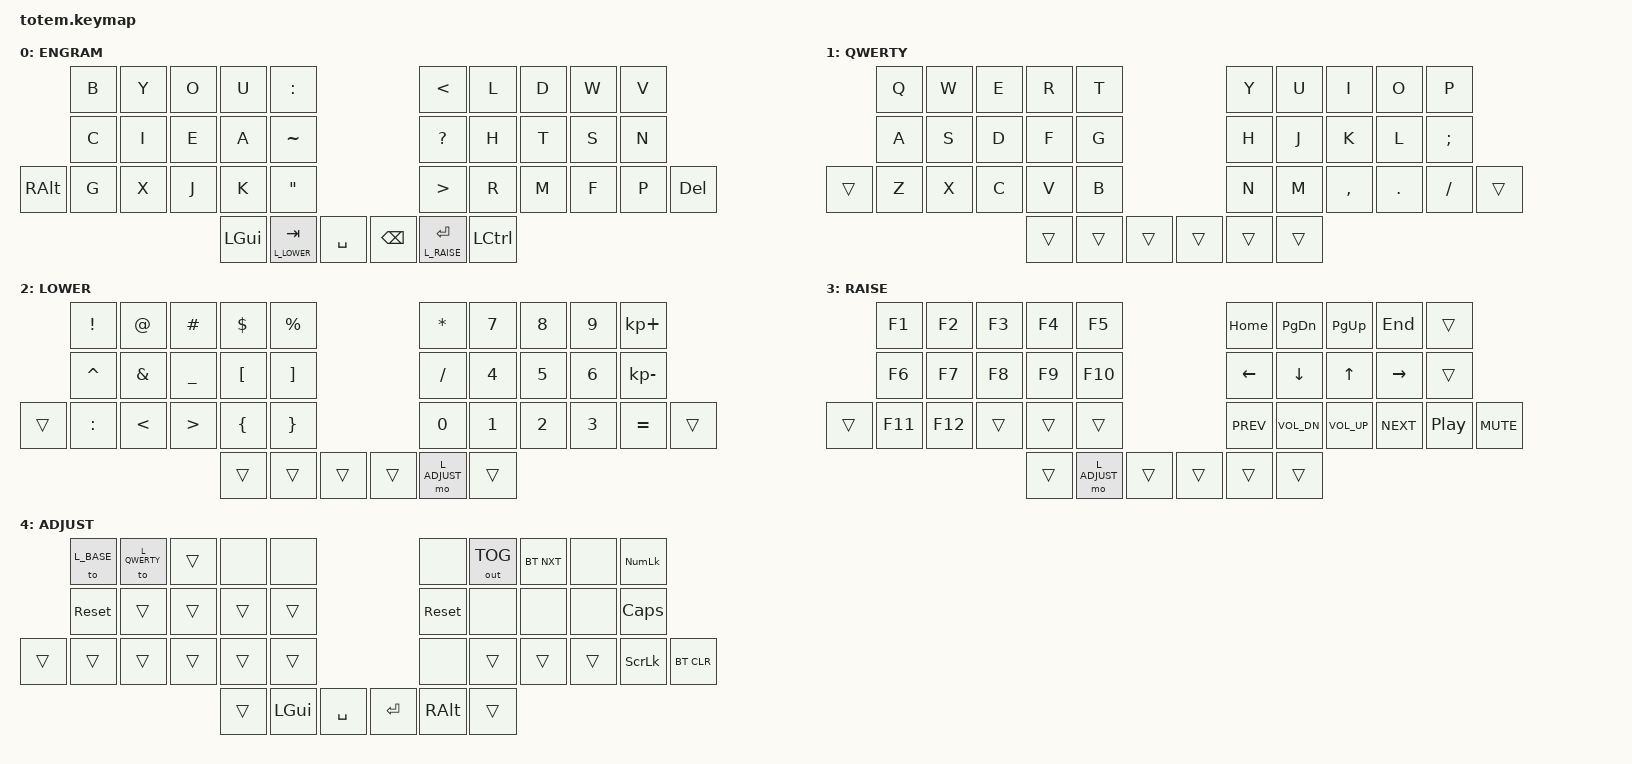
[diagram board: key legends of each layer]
/*
 * Copyright (c) 2022 The ZMK Contributors
 *
 * SPDX-License-Identifier: MIT
 */

#include <behaviors.dtsi>
#include <dt-bindings/zmk/bt.h>
#include <dt-bindings/zmk/keys.h>
#include <dt-bindings/zmk/ext_power.h>
#include <dt-bindings/zmk/keys.h>
#include <dt-bindings/zmk/outputs.h>

#define L_BASE 0
#define L_QWERTY 1
#define L_LOWER 2
#define L_RAISE 3
#define L_ADJUST 4

#define _______ &trans

#define Undo   LC(Z)
#define Cut    LC(X)
#define Copy   LC(C)
#define Paste  LC(V)

/ {
  combos {
    compatible = "zmk,combos";
    timeout-ms = <2>;
    grave {
      key-positions = <0 10>;
      bindings = <&kp GRAVE>;
      timeout-ms = <30>;
    };
    combo_esc {
      key-positions = <1 11>;
      bindings = <&kp ESC>;
      timeout-ms = <30>;
    };
    lshift {
      key-positions = <2 12>;
      bindings = <&skq LSHIFT>;
      timeout-ms = <30>;
    };
    semi {
      key-positions = <3 13>;
      bindings = <&kp SEMI>;
      timeout-ms = <30>;
    };

    comm {
      key-positions = <6 16>;
      bindings = <&kp COMMA>;
      timeout-ms = <30>;
    };
    rshift {
      key-positions = <7 17>;
      bindings = <&skq RSHIFT>;
      timeout-ms = <30>;
    }; 
    forward_slash {
      key-positions = <8 18>;
      bindings = <&kp FSLH>;
      timeout-ms = <30>;
    };
    back_slash {
      key-positions = <9 19>;
      bindings = <&kp BSLH>;
      timeout-ms = <30>;
    };

    lpar {
      key-positions = <22 24>;
      bindings = <&kp LPAR>;
      timeout-ms = <30>;
    };

    z {
      key-positions = <22 23>;
      bindings = <&kp Z>;
      timeout-ms = <30>;
    };
    quot {
      key-positions = <23 24>;
      bindings = <&kp APOS>;
      timeout-ms = <30>;
    };

    rpar {
      key-positions = <27 29>;
      bindings = <&kp RPAR>;
      timeout-ms = <30>;
    };
    dot {
      key-positions = <27 28>;
      bindings = <&kp DOT>;
      timeout-ms = <30>;
    };
    q {
      key-positions = <28 29>;
      bindings = <&kp Q>;
      timeout-ms = <30>;
    };

    combo_cw {
      key-positions = <24 27>;
      bindings = <&caps_word>;
      timeout-ms = <30>;
    };
  };

  behaviors {
    skq: sticky_key_quick_release {
      compatible = "zmk,behavior-sticky-key";
      label = "STICKY_KEY_QUICK_RELEASE";
      #binding-cells = <1>;
      bindings = <&kp>;
      release-after-ms = <1000>;
      quick-release;
    }; 
    tdlg: tap_dance_less_greater {
      compatible = "zmk,behavior-tap-dance";
      label = "TAP_DANCE_1";
      #binding-cells = <0>;
      tapping-term-ms = <225>;
      bindings = <&kp LT>, <&kp GT>;
    };
    tdbk: tap_dance_brakets {
      compatible = "zmk,behavior-tap-dance";
      label = "TAP_DANCE_BRAKETS";
      #binding-cells = <0>;
      tapping-term-ms = <225>;
      bindings = <&kp LBKT>, <&kp RBKT>;
    };
    tdbc: tap_dance_braces {
      compatible = "zmk,behavior-tap-dance";
      label = "TAP_DANCE_BRACES";
      #binding-cells = <0>;
      tapping-term-ms = <225>;
      bindings = <&kp LBRC>, <&kp RBRC>;
    };
  };
};

&lt {
  tapping-term-ms = <150>;
  quick-tap-ms = <200>;
};

&caps_word {
  continue-list = <UNDERSCORE BACKSPACE>;
};

/ {
  keymap {
    compatible = "zmk,keymap";
    default_layer {
      label = "ENGRAM";
      bindings = <
         &kp B    &kp Y    &kp O    &kp U    &kp COLON                                     &kp LT     &kp L    &kp D     &kp W    &kp V
         &kp C    &kp I    &kp E    &kp A    &kp TILDE                                     &kp QMARK  &kp H    &kp T     &kp S    &kp N
&kp RALT &kp G    &kp X    &kp J    &kp K    &kp DQT                                       &kp GT     &kp R    &kp M     &kp F    &kp P &kp DEL 
                                &kp LGUI &lt L_LOWER TAB  &kp SPC         &kp BSPC &lt L_RAISE ENTER &kp LCTRL  
      >;
    };

    qwerty_layer {
      label = "QWERTY";
      bindings = <
        &kp Q    &kp W    &kp E    &kp R    &kp T                                     &kp Y    &kp U    &kp I     &kp O    &kp P    
        &kp A    &kp S    &kp D    &kp F    &kp G                                     &kp H    &kp J    &kp K     &kp L    &kp SEMI 
_______ &kp Z    &kp X    &kp C    &kp V    &kp B                                     &kp N    &kp M    &kp COMMA &kp DOT  &kp FSLH  _______
                                    _______ _______ _______              _______ _______ _______ 
      >;
    };

    lower_layer {
      label ="LOWER";
      bindings = <
        &kp EXCL  &kp AT     &kp HASH  &kp DLLR  &kp PRCNT                     &kp STAR  &kp N7    &kp N8    &kp N9    &kp KP_PLUS 
        &kp CARET &kp AMPS   &kp UNDER &kp LBKT  &kp RBKT                      &kp SLASH &kp N4    &kp N5    &kp N6    &kp KP_MINUS
_______ &kp COLON &kp LT     &kp GT    &kp LBRC  &kp RBRC                      &kp N0    &kp N1    &kp N2    &kp N3    &kp EQUAL   _______
                                            _______ _______ _______        _______ &mo L_ADJUST _______ 
      >;
    };

    raise_layer {
      label = "RAISE";
      bindings = <
        &kp F1  &kp F2  &kp F3  &kp F4  &kp F5                                   &kp HOME    &kp PG_DN        &kp PG_UP     &kp END     _______   
        &kp F6  &kp F7  &kp F8  &kp F9  &kp F10                                  &kp LEFT    &kp DOWN         &kp UP        &kp RIGHT   _______ 
_______ &kp F11 &kp F12 _______ _______ _______                                  &kp C_PREV  &kp C_VOL_DN     &kp C_VOL_UP  &kp C_NEXT  &kp C_PP  &kp C_MUTE
                          _______  &mo L_ADJUST  _______           _______ _______ _______ 
      >;
    };
    
    adjust_layer {
      label = "ADJUST";
      bindings = <
        &to L_BASE &to L_QWERTY _______       &none     &none                         &none             &out OUT_TOG  &bt BT_NXT   &none     &kp KP_NUM
        &sys_reset   _______    _______       _______   _______                       &sys_reset        &none         &none        &none     &kp CAPS  
_______ _______      _______    _______       _______   _______                       &none             _______       _______      _______   &kp SLCK    &bt BT_CLR
                                               _______ &kp LGUI &kp SPC        &kp ENTER &kp RALT _______ 
      >;
    };
  };
};


